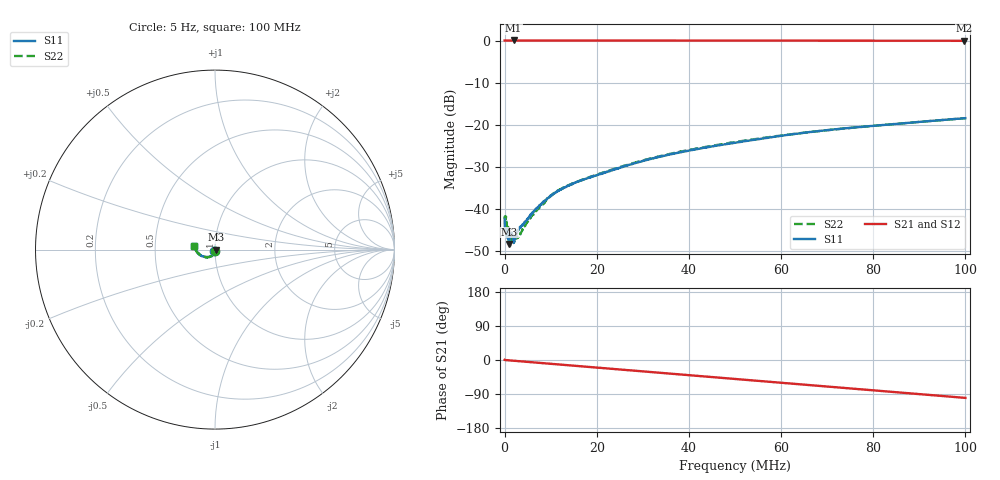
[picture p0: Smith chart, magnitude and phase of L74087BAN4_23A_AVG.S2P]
!Agilent Technologies,E5061B,MY49102235,A.02.00
!Date: Tue Jul 11 16:24:24 2023
!Data & Calibration Information:
!Freq	S11:SOLT2(ON)	S21:SOLT2(ON)	S12:SOLT2(ON)	S22:SOLT2(ON)
# Hz S RI R 50
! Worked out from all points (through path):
!   1600 points, 5 Hz to 100 MHz, reference 50 ohm
!   highest |S21| = 0.02 dB at 1.939 MHz (marker M1); lowest = -0.1 dB at 99.75 MHz (marker M2)
!   group delay of S21, straight-line fit = 2.78 ns
!   lowest |S11| = -48.3 dB at 1.001 MHz (marker M3), VSWR 1.01, Z = 50.4 - j0.0833 ohm
!   |S11| at or under -10 dB: start of sweep to end of sweep
!   |S22| runs from -48.8 to -18.4 dB; largest |S21 - S12| = 0.0026
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5  -0.00504 -0.00565  1.001 0.00794  1 0.0103  -0.00148 -0.00755
437778.6  0.00516 -0.000609  1.001 -0.00538  1.001 -0.00588  0.00662 -0.00228
625395.8  0.00508 -0.000674  1.002 -0.0104  1.002 -0.00993  0.00612 -0.00106
1000630  0.00378 -0.000827  1.001 -0.0164  1.001 -0.016  0.00515 -0.00174
1563482  0.00436 -0.00298  1.001 -0.0261  1.001 -0.0253  0.00316 -0.00356
1938717  0.00313 -0.00242  1.002 -0.0334  1.002 -0.033  0.00342 -0.00217
2376490  0.00332 -0.00312  0.9997 -0.0412  1 -0.0415  0.00395 -0.00279
3252037  0.00425 -0.00435  0.9993 -0.0565  0.9993 -0.0564  0.00313 -0.00385
4690436  0.00373 -0.00622  0.9977 -0.0815  0.9975 -0.0816  0.0034 -0.00587
6003757  0.00331 -0.00819  0.9954 -0.1044  0.9956 -0.1042  0.00282 -0.00799
9505946  0.00144 -0.0136  0.9872 -0.1653  0.9874 -0.1651  0.000753 -0.0135
1.163227e7  -0.000121 -0.0166  0.9804 -0.2017  0.9803 -0.2014  -0.00114 -0.0166
1.669794e7  -0.00405 -0.0217  0.9582 -0.2874  0.9582 -0.2872  -0.00454 -0.0217
2.582865e7  -0.0116 -0.0297  0.9006 -0.4359  0.9004 -0.4358  -0.00961 -0.0311
3.333334e7  -0.0207 -0.0359  0.8353 -0.5497  0.8353 -0.5495  -0.0195 -0.0371
5.003127e7  -0.0451 -0.0415  0.6415 -0.766  0.6414 -0.7657  -0.0455 -0.0427
6.672921e7  -0.0752 -0.0349  0.3934 -0.9165  0.3937 -0.9166  -0.0745 -0.0354
7.53596e7  -0.089 -0.0252  0.2515 -0.9641  0.2516 -0.9641  -0.0884 -0.0262
8.33646e7  -0.1 -0.0125  0.1148 -0.989  0.1148 -0.9892  -0.0997 -0.0145
9.161976e7  -0.1102 0.00301  -0.0286 -0.9942  -0.0286 -0.9943  -0.11 -2.76e-05
9.974984e7  -0.1181 0.0203  -0.1685 -0.9789  -0.1683 -0.9792  -0.118 0.0174
1e8  -0.1182 0.0208  -0.1727 -0.9783  -0.1726 -0.9785  -0.1183 0.0181
